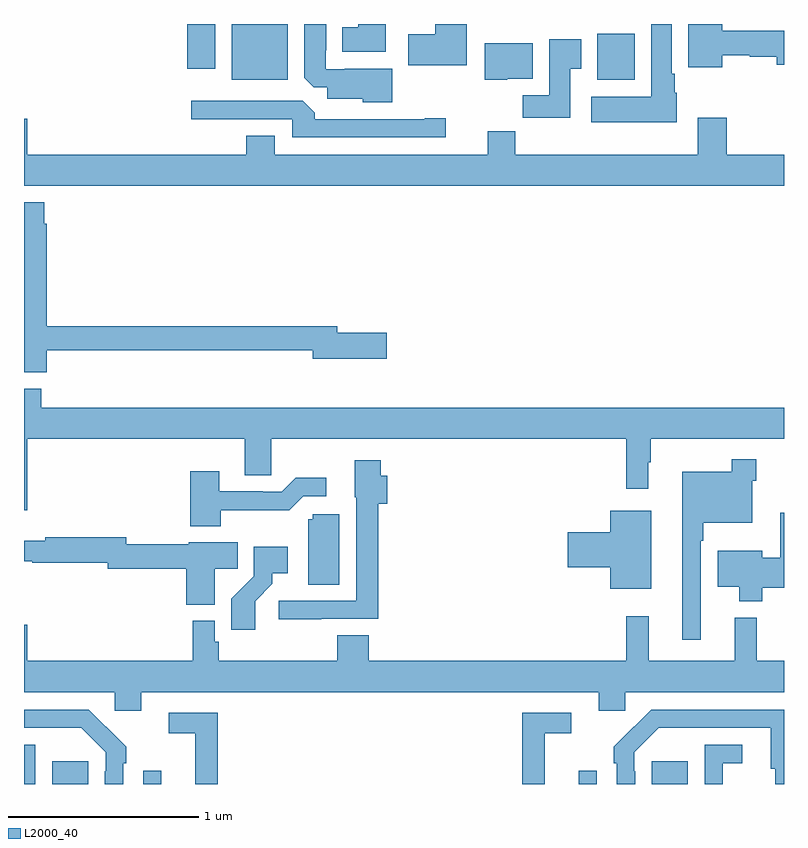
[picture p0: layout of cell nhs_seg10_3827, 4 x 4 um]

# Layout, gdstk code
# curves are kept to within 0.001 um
import gdstk
lib = gdstk.Library(unit=1e-6, precision=1e-09)
def R(c, l, rs):  # rectangles x0, y0, x1, y1
    for r in rs: c.add(gdstk.rectangle(r[:2], r[2:], *l))
def P(c, l, *ps):  # polygons
    for p in ps: c.add(gdstk.Polygon(p, *l))
L2000_40 = (2000, 40)

nhs_seg10_3827 = lib.new_cell('nhs_seg10_3827')
R(nhs_seg10_3827, L2000_40, [(321,1298.5,321.06,1298.706), (321.149,1298.5,321.337,1298.62), (321.627,1298.5,321.723,1298.569), (323.919,1298.5,324.015,1298.569), (324.305,1298.5,324.493,1298.62), (322.094,1302.206,322.387,1302.5), (324.017,1302.206,324.214,1302.448), (321.86,1302.264,322.006,1302.5)])
P(nhs_seg10_3827, L2000_40, [(322.903,1302.5),(322.76,1302.5),(322.76,1302.484),(322.676,1302.484),(322.676,1302.353),(322.903,1302.353)],
  [(324.676,1302.336),(324.819,1302.336),(324.819,1302.328),(324.962,1302.328),(324.962,1302.286),(325,1302.286),(325,1302.464),(324.676,1302.464),(324.676,1302.5),(324.497,1302.5),(324.497,1302.272),(324.676,1302.272)],
  [(322.939,1302.265),(322.687,1302.265),(322.687,1302.261),(322.587,1302.261),(322.587,1302.361),(322.591,1302.361),(322.591,1302.5),(322.475,1302.5),(322.475,1302.217),(322.524,1302.168),(322.595,1302.168),(322.595,1302.107),(322.782,1302.107),(322.782,1302.089),(322.939,1302.089)],
  [(323.329,1302.5),(323.165,1302.5),(323.165,1302.447),(323.022,1302.447),(323.022,1302.284),(323.329,1302.284)],
  [(324.436,1302.138),(324.424,1302.138),(324.424,1302.238),(324.409,1302.238),(324.409,1302.5),(324.302,1302.5),(324.302,1302.118),(323.985,1302.118),(323.985,1301.984),(324.436,1301.984)],
  [(323.875,1302.265),(323.932,1302.265),(323.932,1302.421),(323.765,1302.421),(323.765,1302.124),(323.626,1302.124),(323.626,1302.006),(323.875,1302.006)],
  [(323.544,1302.212),(323.677,1302.212),(323.677,1302.4),(323.426,1302.4),(323.426,1302.206),(323.544,1302.206)],
  [(323.221,1302.005),(323.108,1302.005),(323.108,1302),(322.529,1302),(322.529,1302.034),(322.467,1302.096),(321.879,1302.096),(321.879,1302),(322.413,1302),(322.413,1301.904),(323.221,1301.904)],
  [(325,1301.812),(324.698,1301.812),(324.698,1302.007),(324.545,1302.007),(324.545,1301.812),(323.585,1301.812),(323.585,1301.936),(323.441,1301.936),(323.441,1301.812),(322.321,1301.812),(322.321,1301.911),(322.169,1301.911),(322.169,1301.812),(321.016,1301.812),(321.016,1302.001),(321,1302.001),(321,1301.648),(325,1301.648)],
  [(321.119,1300.782),(322.52,1300.782),(322.52,1300.739),(322.909,1300.739),(322.909,1300.874),(322.648,1300.874),(322.648,1300.91),(321.119,1300.91),(321.119,1301.45),(321.106,1301.45),(321.106,1301.563),(321,1301.563),(321,1300.667),(321.119,1300.667)],
  [(321.016,1300.316),(322.163,1300.316),(322.163,1300.126),(322.302,1300.126),(322.302,1300.316),(324.169,1300.316),(324.169,1300.053),(324.286,1300.053),(324.286,1300.193),(324.298,1300.193),(324.298,1300.316),(325,1300.316),(325,1300.48),(321.092,1300.48),(321.092,1300.579),(321,1300.579),(321,1299.942),(321.016,1299.942)],
  [(324.561,1299.779),(324.574,1299.779),(324.574,1299.875),(324.834,1299.875),(324.834,1300.097),(324.854,1300.097),(324.854,1300.21),(324.726,1300.21),(324.726,1300.144),(324.464,1300.144),(324.464,1299.258),(324.561,1299.258)],
  [(322.565,1299.369),(322.865,1299.369),(322.865,1299.974),(322.913,1299.974),(322.913,1300.122),(322.878,1300.122),(322.878,1300.204),(322.742,1300.204),(322.742,1300.008),(322.749,1300.008),(322.749,1299.465),(322.341,1299.465),(322.341,1299.367),(322.565,1299.367)],
  [(322.035,1299.942),(322.397,1299.941),(322.47,1300.014),(322.591,1300.014),(322.591,1300.111),(322.429,1300.111),(322.356,1300.038),(322.256,1300.038),(322.256,1300.041),(322.027,1300.041),(322.027,1300.147),(321.875,1300.147),(321.875,1299.857),(322.035,1299.857)],
  [(324.301,1299.937),(324.086,1299.937),(324.086,1299.824),(323.862,1299.824),(323.862,1299.641),(324.086,1299.641),(324.086,1299.527),(324.301,1299.527)],
  [(324.886,1299.532),(325,1299.532),(325,1299.928),(324.98,1299.928),(324.98,1299.692),(324.886,1299.692),(324.886,1299.727),(324.65,1299.727),(324.65,1299.539),(324.764,1299.539),(324.764,1299.461),(324.886,1299.461)],
  [(322.66,1299.921),(322.521,1299.921),(322.521,1299.894),(322.496,1299.894),(322.496,1299.55),(322.66,1299.55)],
  [(322.003,1299.634),(322.124,1299.634),(322.124,1299.772),(321.866,1299.772),(321.866,1299.761),(321.537,1299.761),(321.537,1299.8),(321.112,1299.8),(321.112,1299.781),(321,1299.781),(321,1299.672),(321.044,1299.672),(321.044,1299.664),(321.441,1299.664),(321.441,1299.633),(321.854,1299.633),(321.854,1299.443),(322.003,1299.443)],
  [(322.216,1299.463),(322.306,1299.553),(322.306,1299.608),(322.387,1299.608),(322.387,1299.748),(322.209,1299.748),(322.209,1299.593),(322.09,1299.474),(322.09,1299.312),(322.216,1299.312)],
  [(324.026,1298.886),(324.165,1298.886),(324.165,1298.984),(325,1298.984),(325,1299.148),(324.857,1299.148),(324.857,1299.376),(324.74,1299.376),(324.74,1299.148),(324.287,1299.148),(324.287,1299.382),(324.169,1299.382),(324.169,1299.148),(322.814,1299.148),(322.814,1299.284),(322.649,1299.284),(322.649,1299.148),(322.025,1299.148),(322.025,1299.249),(322.005,1299.249),(322.005,1299.358),(321.889,1299.358),(321.889,1299.148),(321.016,1299.148),(321.016,1299.337),(321,1299.337),(321,1298.984),(321.477,1298.984),(321.477,1298.886),(321.616,1298.886),(321.616,1298.984),(324.026,1298.984)],
  [(321.522,1298.609),(321.537,1298.609),(321.537,1298.697),(321.34,1298.892),(321,1298.892),(321,1298.796),(321.301,1298.796),(321.429,1298.667),(321.429,1298.567),(321.426,1298.567),(321.426,1298.5),(321.522,1298.5)],
  [(324.216,1298.567),(324.213,1298.567),(324.213,1298.667),(324.342,1298.796),(324.929,1298.796),(324.929,1298.58),(324.953,1298.58),(324.953,1298.5),(325,1298.5),(325,1298.892),(324.302,1298.892),(324.105,1298.697),(324.105,1298.609),(324.12,1298.609),(324.12,1298.5),(324.216,1298.5)],
  [(323.741,1298.766),(323.881,1298.766),(323.881,1298.874),(323.623,1298.874),(323.623,1298.5),(323.741,1298.5)],
  [(322.019,1298.874),(321.762,1298.874),(321.762,1298.766),(321.902,1298.766),(321.902,1298.5),(322.019,1298.5)],
  [(324.678,1298.61),(324.781,1298.61),(324.781,1298.706),(324.582,1298.706),(324.582,1298.5),(324.678,1298.5)])

lib.write_gds('nhs_seg10_3827.gds')
